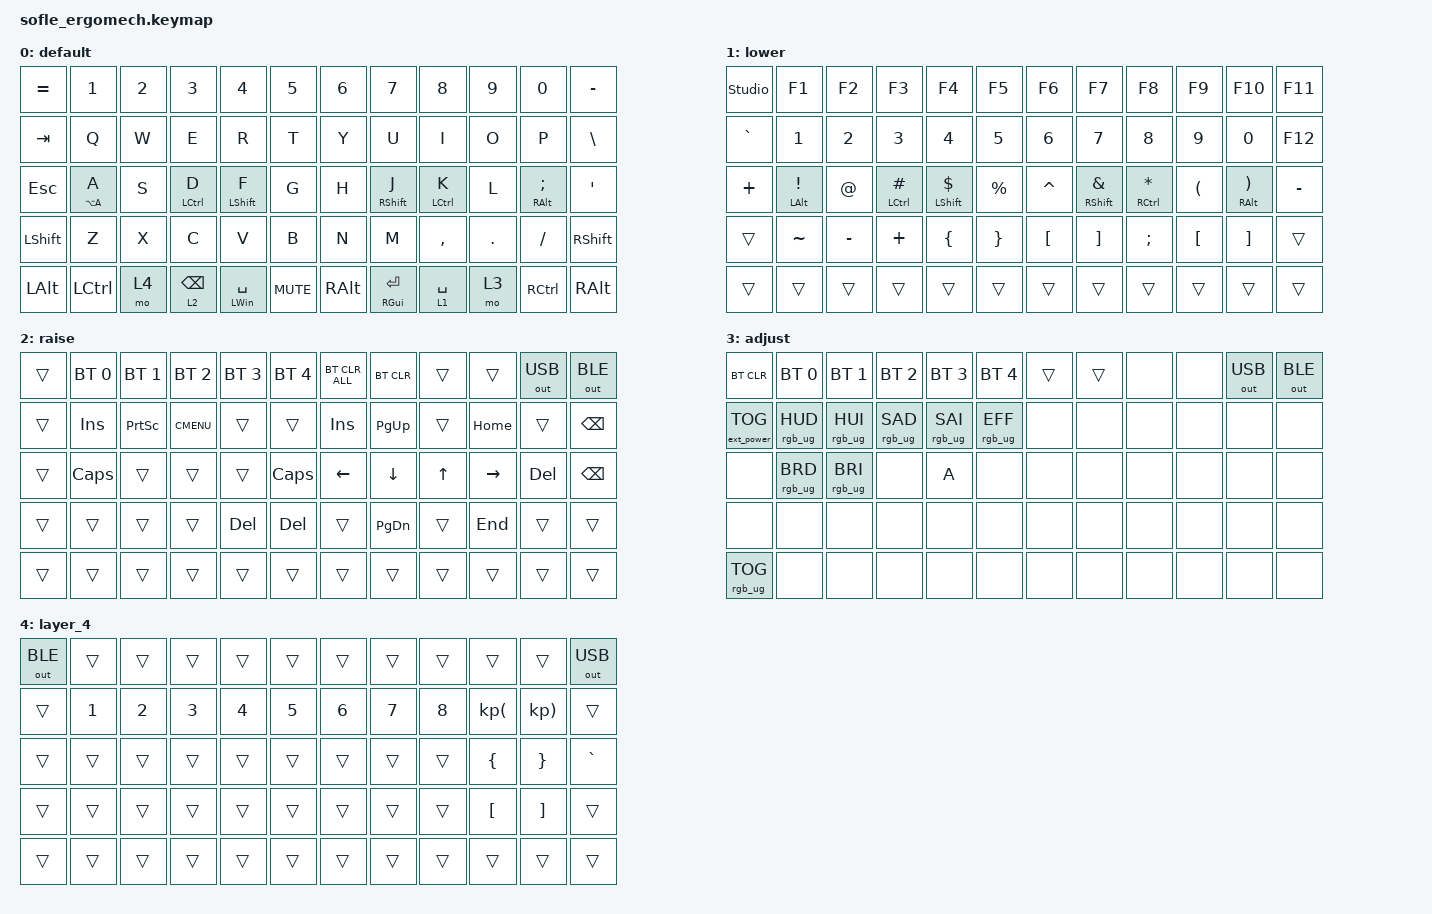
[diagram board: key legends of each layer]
/*
 * Copyright (c) 2020 The ZMK Contributors
 *
 * SPDX-License-Identifier: MIT
 */

#include <behaviors.dtsi>
#include <dt-bindings/zmk/bt.h>
#include <dt-bindings/zmk/ext_power.h>
#include <dt-bindings/zmk/keys.h>
#include <dt-bindings/zmk/outputs.h>
#include <dt-bindings/zmk/rgb.h>

#define BASE 0
#define LOWER 1
#define RAISE 2
#define ADJUST 3

&mt { flavor = "balanced"; };

/ {
    // Activate ADJUST layer by pressing raise and lower

    conditional_layers { compatible = "zmk,conditional-layers"; };

    macros {
        reisub_macro: reisub_macro {
            compatible = "zmk,behavior-macro";
            #binding-cells = <0>;
            bindings = <&reisub_macro>, <&macro_press>, <&kt LC(LA(PSCRN))>;

            label = "REISUB_MACRO";
        };
    };

    keymap {
        compatible = "zmk,keymap";

        default_layer {
            label = "default";

            // ------------------------------------------------------------------------------------------------------------
            // |   `   |  1  |  2  |  3   |  4   |  5   |                   |  6   |  7    |  8    |  9   |   0   |       |
            // |  ESC  |  Q  |  W  |  E   |  R   |  T   |                   |  Y   |  U    |  I    |  O   |   P   | BKSPC |
            // |  TAB  |  A  |  S  |  D   |  F   |  G   |                   |  H   |  J    |  K    |  L   |   ;   |   '   |
            // | SHIFT |  Z  |  X  |  C   |  V   |  B   |  MUTE  |  |       |  N   |  M    |  ,    |  .   |   /   | SHIFT |
            //               | GUI | ALT  | CTRL | LOWER|  ENTER |  | SPACE | RAISE| CTRL  | ALT   | GUI  |

            bindings = <
&kp EQUAL     &kp N1            &kp N2  &kp N3              &kp N4            &kp N5      &kp N6         &kp N7               &kp N8              &kp N9   &kp N0                   &kp MINUS
&kp TAB       &kp Q             &kp W   &kp E               &kp R             &kp T       &kp Y          &kp U                &kp I               &kp O    &kp P                    &kp BACKSLASH
&kp ESC       &mt LA(A) A       &kp S   &mt LEFT_CONTROL D  &mt LEFT_SHIFT F  &kp G       &kp H          &mt RIGHT_SHIFT J    &mt LEFT_CONTROL K  &kp L    &mt RIGHT_ALT SEMICOLON  &kp SQT
&kp LSHFT     &kp Z             &kp X   &kp C               &kp V             &kp B       &kp N          &kp M                &kp COMMA           &kp DOT  &kp FSLH                 &kp RSHFT
&kp LEFT_ALT  &kp LEFT_CONTROL  &mo 4   &lt 2 BACKSPACE     &mt LWIN SPACE    &kp C_MUTE  &kp RIGHT_ALT  &mt RIGHT_GUI ENTER  &lt 1 SPACE         &mo 3    &kp RIGHT_CONTROL        &kp RIGHT_ALT
            >;
        };

        lower_layer {
            label = "lower";

            // TODO: Some binds are waiting for shifted keycode support.
            // ------------------------------------------------------------------------------------------------------------
            // |       |  F1 |  F2 |  F3  |  F4  |  F5  |                   |  F6  |  F7   |  F8   |  F9  |  F10  |  F11  |
            // |   `   |  1  |  2  |  3   |  4   |  5   |                   |  6   |  7    |  8    |  9   |   0   |  F12  |
            // |       |  !  |  @  |  #   |  $   |  %   |                   |  ^   |  &    |  *    |  (   |   )   |   |   |
            // |       |  =  |  -  |  +   |  {   |  }   |        |  |       |  [   |  ]    |  ;    |  :   |   \   |       |
            //               |     |      |      |      |        |  |       |      |       |       |      |

            bindings = <
&studio_unlock  &kp F1             &kp F2     &kp F3                 &kp F4               &kp F5     &kp F6     &kp F7                     &kp F8                      &kp F9                &kp F10                          &kp F11
&kp GRAVE       &kp N1             &kp N2     &kp N3                 &kp N4               &kp N5     &kp N6     &kp N7                     &kp N8                      &kp N9                &kp N0                           &kp F12
&kp PLUS        &mt LEFT_ALT EXCL  &kp AT     &mt LEFT_CONTROL HASH  &mt LEFT_SHIFT DLLR  &kp PRCNT  &kp CARET  &mt RIGHT_SHIFT AMPERSAND  &mt RIGHT_CONTROL ASTERISK  &kp LEFT_PARENTHESIS  &mt RIGHT_ALT RIGHT_PARENTHESIS  &kp MINUS
&trans          &kp TILDE          &kp MINUS  &kp PLUS               &kp LBRC             &kp RBRC   &kp LBKT   &kp RBKT                   &kp SEMI                    &kp LEFT_BRACKET      &kp RIGHT_BRACKET                &trans
&trans          &trans             &trans     &trans                 &trans               &trans     &trans     &trans                     &trans                      &trans                &trans                           &trans
            >;
        };

        raise_layer {
            label = "raise";

            // ------------------------------------------------------------------------------------------------------------
            // | BTCLR | BT1  | BT2  |  BT3  |  BT4  |  BT5 |                |      |      |       |      |       |       |
            // |       | INS  | PSCR | GUI   |       |      |                | PGUP |      |   ^   |      |       |       |
            // |       | ALT  | CTRL | SHIFT |       | CAPS |                | PGDN |   <- |   v   |  ->  |  DEL  | BKSPC |
            // |       | UNDO | CUT  | COPY  | PASTE |      |      |  |      |      |      |       |      |       |       |
            //                |      |       |       |      |      |  |      |      |      |       |      |

            bindings = <
&trans  &bt BT_SEL 0  &bt BT_SEL 1  &bt BT_SEL 2  &bt BT_SEL 3  &bt BT_SEL 4  &bt BT_CLR_ALL  &bt BT_CLR      &trans        &trans     &out OUT_USB  &out OUT_BLE
&trans  &kp INS       &kp PSCRN     &kp K_CMENU   &trans        &trans        &kp INSERT      &kp PG_UP       &trans        &kp HOME   &trans        &kp BACKSPACE
&trans  &kp CAPSLOCK  &trans        &trans        &trans        &kp CLCK      &kp LEFT        &kp DOWN_ARROW  &kp UP_ARROW  &kp RIGHT  &kp DEL       &kp BSPC
&trans  &trans        &trans        &trans        &kp DELETE    &kp DELETE    &trans          &kp PAGE_DOWN   &trans        &kp END    &trans        &trans
&trans  &trans        &trans        &trans        &trans        &trans        &trans          &trans          &trans        &trans     &trans        &trans
            >;
        };

        adjust_layer {
            // ----------------------------------------------------------------------------------------------------------------------------
            // | BTCLR  |  BT1    |  BT2    |   BT3   |   BT4   |   BT5   |                  |      |      |       |      |       |       |
            // | EXTPWR | RGB_HUD | RGB_HUI | RGB_SAD | RGB_SAI | RGB_EFF |                  |      |      |       |      |       |       |
            // |        | RGB_BRD | RGB_BRI |         |         |         |                  |      |      |       |      |       |       |
            // |        |         |         |         |         |         | RGB_TOG | |      |      |      |       |      |       |       |
            //                    |         |         |         |         |         | |      |      |      |       |      |

            label = "adjust";
            bindings = <
&bt BT_CLR         &bt BT_SEL 0     &bt BT_SEL 1     &bt BT_SEL 2     &bt BT_SEL 3     &bt BT_SEL 4     &trans  &trans  &none  &none  &out OUT_USB  &out OUT_BLE
&ext_power EP_TOG  &rgb_ug RGB_HUD  &rgb_ug RGB_HUI  &rgb_ug RGB_SAD  &rgb_ug RGB_SAI  &rgb_ug RGB_EFF  &none   &none   &none  &none  &none         &none
&none              &rgb_ug RGB_BRD  &rgb_ug RGB_BRI  &none            &kp A            &none            &none   &none   &none  &none  &none         &none
&none              &none            &none            &none            &none            &none            &none   &none   &none  &none  &none         &none
&rgb_ug RGB_TOG    &none            &none            &none            &none            &none            &none   &none   &none  &none  &none         &none
            >;
        };

        layer_4 {
            bindings = <
&out OUT_BLE  &trans        &trans        &trans        &trans        &trans        &trans        &trans        &trans        &trans                   &trans                    &out OUT_USB
&trans        &kp NUMBER_1  &kp NUMBER_2  &kp NUMBER_3  &kp NUMBER_4  &kp NUMBER_5  &kp NUMBER_6  &kp NUMBER_7  &kp NUMBER_8  &kp KP_LEFT_PARENTHESIS  &kp KP_RIGHT_PARENTHESIS  &trans
&trans        &trans        &trans        &trans        &trans        &trans        &trans        &trans        &trans        &kp LEFT_BRACE           &kp RIGHT_BRACE           &kp GRAVE
&trans        &trans        &trans        &trans        &trans        &trans        &trans        &trans        &trans        &kp LEFT_BRACKET         &kp RIGHT_BRACKET         &trans
&trans        &trans        &trans        &trans        &trans        &trans        &trans        &trans        &trans        &trans                   &trans                    &trans
            >;
        };
    };
};
